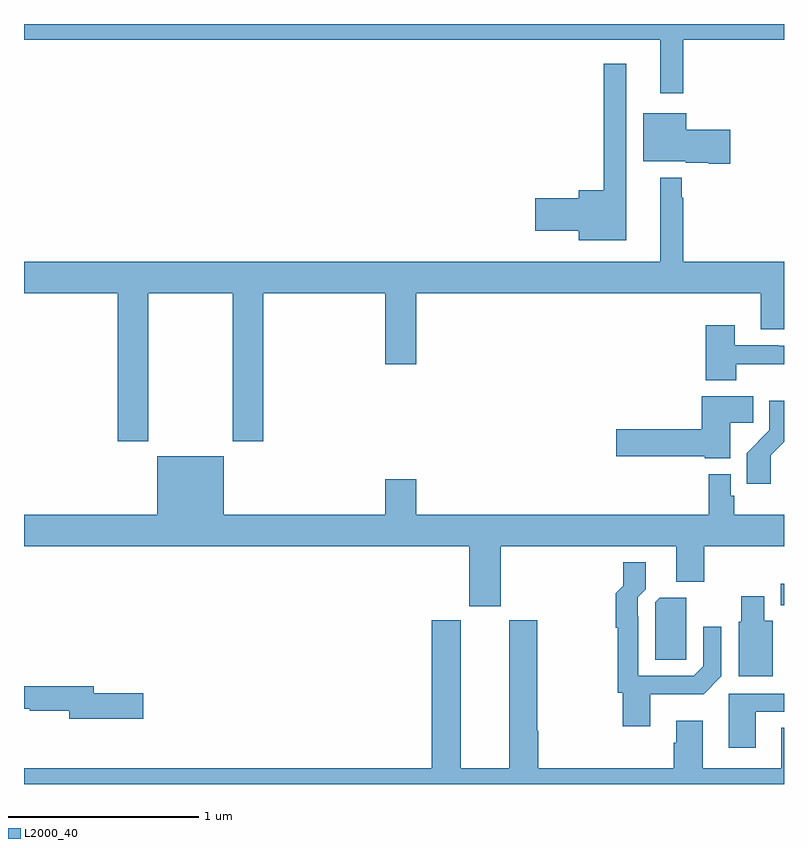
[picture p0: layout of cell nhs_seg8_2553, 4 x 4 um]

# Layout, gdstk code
import gdstk
lib = gdstk.Library(unit=1e-6, precision=1e-09)
def R(c, l, rs):  # rectangles x0, y0, x1, y1
    for r in rs: c.add(gdstk.rectangle(r[:2], r[2:], *l))
def P(c, l, *ps):  # polygons
    for p in ps: c.add(gdstk.Polygon(p, *l))
L2000_40 = (2000, 40)

nhs_seg8_2553 = lib.new_cell('nhs_seg8_2553')
R(nhs_seg8_2553, L2000_40, [(274.982,1130.84,275,1130.953)])
P(nhs_seg8_2553, L2000_40, [(274.471,1133.816),(275,1133.816),(275,1133.9),(271,1133.9),(271,1133.816),(274.349,1133.816),(274.349,1133.535),(274.471,1133.535)],
  [(274.171,1133.692),(274.05,1133.692),(274.05,1133.026),(273.92,1133.026),(273.92,1132.982),(273.69,1132.982),(273.69,1132.811),(273.92,1132.811),(273.92,1132.763),(274.171,1132.763)],
  [(274.717,1133.343),(274.486,1133.343),(274.486,1133.431),(274.259,1133.431),(274.259,1133.177),(274.482,1133.177),(274.482,1133.171),(274.604,1133.171),(274.604,1133.165),(274.717,1133.165)],
  [(271.653,1132.484),(272.098,1132.484),(272.098,1131.705),(272.258,1131.705),(272.258,1132.484),(272.9,1132.484),(272.9,1132.11),(273.064,1132.11),(273.064,1132.484),(274.877,1132.484),(274.877,1132.294),(275,1132.294),(275,1132.648),(274.471,1132.648),(274.471,1132.985),(274.463,1132.985),(274.463,1133.092),(274.349,1133.092),(274.349,1132.648),(271,1132.648),(271,1132.484),(271.493,1132.484),(271.493,1131.705),(271.653,1131.705)],
  [(274.749,1132.11),(275,1132.11),(275,1132.206),(274.97,1132.206),(274.97,1132.209),(274.741,1132.209),(274.741,1132.315),(274.589,1132.315),(274.589,1132.025),(274.749,1132.025)],
  [(274.717,1131.802),(274.838,1131.802),(274.838,1131.94),(274.568,1131.94),(274.568,1131.767),(274.116,1131.767),(274.116,1131.625),(274.584,1131.625),(274.584,1131.614),(274.717,1131.614)],
  [(274.93,1131.631),(275,1131.701),(275,1131.916),(274.923,1131.916),(274.923,1131.761),(274.804,1131.642),(274.804,1131.48),(274.93,1131.48)],
  [(273.508,1131.152),(274.433,1131.152),(274.433,1130.965),(274.581,1130.965),(274.581,1131.152),(275,1131.152),(275,1131.316),(274.739,1131.316),(274.739,1131.417),(274.719,1131.417),(274.719,1131.529),(274.603,1131.529),(274.603,1131.316),(273.064,1131.316),(273.064,1131.505),(272.9,1131.505),(272.9,1131.316),(272.05,1131.316),(272.05,1131.625),(271.7,1131.625),(271.7,1131.316),(271,1131.316),(271,1131.152),(273.344,1131.152),(273.344,1130.835),(273.508,1130.835)],
  [(274.297,1130.372),(274.577,1130.372),(274.671,1130.466),(274.671,1130.728),(274.575,1130.728),(274.575,1130.52),(274.524,1130.469),(274.233,1130.469),(274.233,1130.783),(274.23,1130.783),(274.23,1130.883),(274.273,1130.926),(274.273,1131.067),(274.153,1131.067),(274.153,1130.943),(274.115,1130.904),(274.115,1130.722),(274.125,1130.722),(274.125,1130.379),(274.15,1130.379),(274.15,1130.205),(274.297,1130.205)],
  [(274.942,1130.758),(274.897,1130.758),(274.897,1130.887),(274.775,1130.887),(274.775,1130.754),(274.763,1130.754),(274.763,1130.468),(274.942,1130.468)],
  [(274.485,1130.665),(274.486,1130.665),(274.486,1130.88),(274.347,1130.88),(274.323,1130.856),(274.323,1130.554),(274.485,1130.554)],
  [(275,1130.195),(274.985,1130.195),(274.985,1129.984),(274.573,1129.984),(274.573,1130.233),(274.433,1130.233),(274.433,1130.117),(274.421,1130.117),(274.421,1129.984),(273.707,1129.984),(273.707,1130.18),(273.702,1130.18),(273.702,1130.763),(273.554,1130.763),(273.554,1129.984),(273.298,1129.984),(273.298,1130.763),(273.146,1130.763),(273.146,1129.984),(271,1129.984),(271,1129.9),(275,1129.9)],
  [(271.627,1130.378),(271.366,1130.378),(271.366,1130.414),(271,1130.414),(271,1130.297),(271.03,1130.297),(271.03,1130.286),(271.238,1130.286),(271.238,1130.243),(271.627,1130.243)],
  [(274.852,1130.28),(275,1130.28),(275,1130.376),(274.709,1130.376),(274.709,1130.091),(274.852,1130.091)])

lib.write_gds('nhs_seg8_2553.gds')
